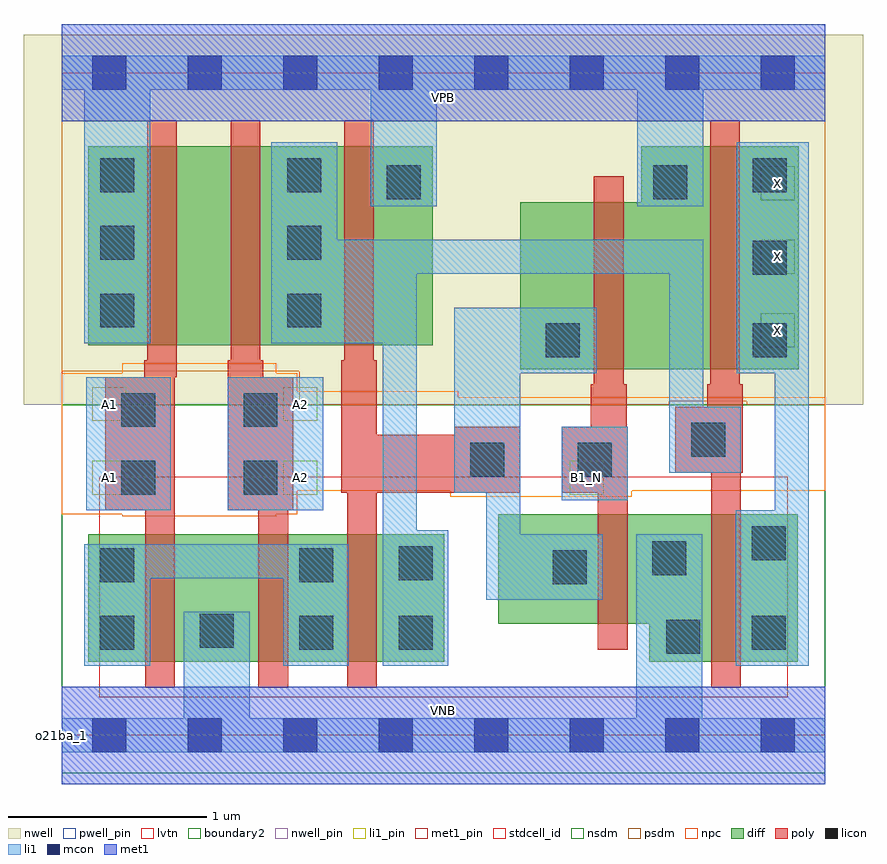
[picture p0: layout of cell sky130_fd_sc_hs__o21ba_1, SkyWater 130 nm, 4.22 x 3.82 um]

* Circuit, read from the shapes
.subckt sky130_fd_sc_hs__o21ba_1 A1 A2 B1_N VGND VNB VPB VPWR X
XM1 VGND A1 n1 VNB sky130_fd_pr__nfet_01v8_lvt w=0.64 l=0.15
XM2 n1 A2 VGND VNB sky130_fd_pr__nfet_01v8_lvt w=0.64 l=0.15
XM3 n2 n3 n1 VNB sky130_fd_pr__nfet_01v8_lvt w=0.64 l=0.15
XM4 VGND B1_N n3 VNB sky130_fd_pr__nfet_01v8_lvt w=0.55 l=0.15
XM5 X n2 VGND VNB sky130_fd_pr__nfet_01v8_lvt w=0.74 l=0.15
XM6 n4 A1 VPWR VPB sky130_fd_pr__pfet_01v8 w=1 l=0.15
XM7 n2 A2 n4 VPB sky130_fd_pr__pfet_01v8 w=1 l=0.15
XM8 VPWR n3 n2 VPB sky130_fd_pr__pfet_01v8 w=1 l=0.15
XM9 VPWR B1_N n3 VPB sky130_fd_pr__pfet_01v8 w=0.84 l=0.15
XM10 X n2 VPWR VPB sky130_fd_pr__pfet_01v8 w=1.12 l=0.15
.ends

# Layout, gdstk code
import gdstk
lib = gdstk.Library(unit=1e-6, precision=1e-09)
def R(c, l, rs):  # rectangles x0, y0, x1, y1
    for r in rs: c.add(gdstk.rectangle(r[:2], r[2:], *l))
def A(c, l, x, y, w, h, nx, ny, dx, dy):  # array of equal rectangles
    R(c, l, [(x+i*dx, y+j*dy, x+i*dx+w, y+j*dy+h) for i in range(nx) for j in range(ny)])
def P(c, l, *ps):  # polygons
    for p in ps: c.add(gdstk.Polygon(p, *l))
nwell_pin = (64, 16)
nwell = (64, 20)
diff = (65, 20)
poly = (66, 20)
licon = (66, 44)
li1_pin = (67, 16)
li1 = (67, 20)
mcon = (67, 44)
met1_pin = (68, 16)
met1 = (68, 20)
stdcell_id = (81, 4)
nsdm = (93, 44)
psdm = (94, 20)
npc = (95, 20)
pwell_pin = (122, 16)
lvtn = (125, 44)
boundary2 = (236, 0)

sky130_fd_sc_hs__o21ba_1 = lib.new_cell('sky130_fd_sc_hs__o21ba_1')
R(sky130_fd_sc_hs__o21ba_1, nwell_pin, [(0,3.085,3.84,3.33)])
R(sky130_fd_sc_hs__o21ba_1, nwell, [(-0.19,1.66,4.03,3.52)])
R(sky130_fd_sc_hs__o21ba_1, diff, [(0.135,0.37,1.925,1.01), (0.135,1.96,1.865,2.96)])
P(sky130_fd_sc_hs__o21ba_1, diff, [(3.7,1.11),(2.195,1.11),(2.195,0.56),(2.955,0.56),(2.955,0.37),(3.7,0.37)],
  [(3.705,2.96),(2.915,2.96),(2.915,2.68),(2.305,2.68),(2.305,1.84),(3.705,1.84)])
P(sky130_fd_sc_hs__o21ba_1, poly, [(0.58,3.09),(0.43,3.09),(0.43,1.885),(0.415,1.885),(0.415,1.8),(0.22,1.8),(0.22,1.13),(0.42,1.13),(0.42,0.24),(0.57,0.24),(0.57,1.8),(0.58,1.8)],
  [(1.165,1.8),(1.015,1.8),(1.015,1.885),(1,1.885),(1,3.09),(0.85,3.09),(0.85,1.885),(0.835,1.885),(0.835,1.13),(0.99,1.13),(0.99,0.24),(1.14,0.24),(1.14,1.13),(1.165,1.13)],
  [(2.305,1.55),(1.975,1.55),(1.975,1.51),(1.585,1.51),(1.585,1.885),(1.57,1.885),(1.57,3.09),(1.42,3.09),(1.42,1.885),(1.405,1.885),(1.405,1.22),(1.435,1.22),(1.435,0.24),(1.585,0.24),(1.585,1.22),(2.305,1.22)],
  [(2.845,1.55),(2.84,1.55),(2.84,1.765),(2.825,1.765),(2.825,2.81),(2.675,2.81),(2.675,1.765),(2.66,1.765),(2.66,1.55),(2.515,1.55),(2.515,1.22),(2.695,1.22),(2.695,0.43),(2.845,0.43)],
  [(3.425,1.765),(3.41,1.765),(3.41,3.09),(3.26,3.09),(3.26,1.765),(3.245,1.765),(3.245,1.65),(3.085,1.65),(3.085,1.32),(3.265,1.32),(3.265,0.24),(3.415,0.24),(3.415,1.32),(3.425,1.32)])
A(sky130_fd_sc_hs__o21ba_1, licon, 3.475, 1.9, 0.17, 0.17, 1, 3, 0, 0.415)
A(sky130_fd_sc_hs__o21ba_1, licon, 0.195, 2.05, 0.17, 0.17, 1, 3, 0, 0.34)
A(sky130_fd_sc_hs__o21ba_1, licon, 1.135, 2.05, 0.17, 0.17, 1, 3, 0, 0.34)
R(sky130_fd_sc_hs__o21ba_1, licon, [(3.04,0.41,3.21,0.58), (0.195,0.43,0.365,0.6), (1.195,0.43,1.365,0.6), (1.695,0.43,1.865,0.6), (3.47,0.43,3.64,0.6), (0.695,0.44,0.865,0.61), (2.47,0.76,2.64,0.93), (0.195,0.77,0.365,0.94), (1.195,0.77,1.365,0.94), (1.695,0.78,1.865,0.95), (2.97,0.805,3.14,0.975), (3.47,0.88,3.64,1.05), (0.3,1.21,0.47,1.38), (0.915,1.21,1.085,1.38), (2.055,1.3,2.225,1.47), (2.595,1.3,2.765,1.47), (3.165,1.4,3.335,1.57), (0.3,1.55,0.47,1.72), (0.915,1.55,1.085,1.72), (2.435,1.9,2.605,2.07), (1.635,2.695,1.805,2.865), (2.975,2.695,3.145,2.865)])
A(sky130_fd_sc_hs__o21ba_1, li1_pin, 3.515, 1.95, 0.17, 0.17, 1, 3, 0, 0.37)
R(sky130_fd_sc_hs__o21ba_1, li1_pin, [(0.155,1.21,0.325,1.38), (1.115,1.21,1.285,1.38), (2.555,1.21,2.725,1.38), (0.155,1.58,0.325,1.75), (1.115,1.58,1.285,1.75)])
R(sky130_fd_sc_hs__o21ba_1, li1, [(0.125,1.13,0.55,1.8), (0.835,1.13,1.315,1.8), (2.515,1.18,2.845,1.55)])
P(sky130_fd_sc_hs__o21ba_1, li1, [(2.895,2.66),(2.895,3.245),(1.885,3.245),(1.885,2.66),(1.555,2.66),(1.555,3.245),(0.445,3.245),(0.445,1.97),(0.115,1.97),(0.115,3.245),(0,3.245),(0,3.415),(3.84,3.415),(3.84,3.245),(3.225,3.245),(3.225,2.66)],
  [(0.615,0.085),(0.615,0.62),(0.945,0.62),(0.945,0.085),(2.89,0.085),(2.89,1.01),(3.22,1.01),(3.22,0.085),(3.84,0.085),(3.84,-0.085),(0,-0.085),(0,0.085)],
  [(3.225,2.49),(3.225,1.65),(3.415,1.65),(3.415,1.32),(3.055,1.32),(3.055,2.32),(1.785,2.32),(1.785,1.03),(1.945,1.03),(1.945,0.35),(1.615,0.35),(1.615,1.97),(1.055,1.97),(1.055,2.98),(1.385,2.98),(1.385,2.49)],
  [(2.135,0.68),(2.135,1.22),(1.975,1.22),(1.975,2.15),(2.69,2.15),(2.69,1.82),(2.305,1.82),(2.305,1.01),(2.72,1.01),(2.72,0.68)],
  [(0.115,0.35),(0.115,0.96),(1.445,0.96),(1.445,0.35),(1.115,0.35),(1.115,0.79),(0.445,0.79),(0.445,0.35)],
  [(3.585,1.13),(3.585,1.82),(3.395,1.82),(3.395,2.98),(3.755,2.98),(3.755,0.35),(3.39,0.35),(3.39,1.13)])
A(sky130_fd_sc_hs__o21ba_1, mcon, 0.155, -0.085, 0.17, 0.17, 8, 2, 0.48, 3.33)
R(sky130_fd_sc_hs__o21ba_1, met1_pin, [(0,0,3.84,0.245), (0,3.085,3.84,3.33)])
R(sky130_fd_sc_hs__o21ba_1, met1, [(0,-0.245,3.84,0.245), (0,3.085,3.84,3.575)])
R(sky130_fd_sc_hs__o21ba_1, stdcell_id, [(0,0,3.84,3.33)])
R(sky130_fd_sc_hs__o21ba_1, nsdm, [(0,-0.19,3.84,1.66)])
P(sky130_fd_sc_hs__o21ba_1, psdm, [(3.84,3.52),(0,3.52),(0,1.83),(1.195,1.83),(1.195,1.66),(3.055,1.66),(3.055,1.68),(3.445,1.68),(3.445,1.66),(3.84,1.66)])
P(sky130_fd_sc_hs__o21ba_1, npc, [(3.84,1.7),(1.995,1.7),(1.995,1.73),(1.185,1.73),(1.185,1.82),(1.08,1.82),(1.08,1.87),(0.305,1.87),(0.305,1.82),(0,1.82),(0,1.11),(0.305,1.11),(0.305,1.1),(1.08,1.1),(1.08,1.11),(1.185,1.11),(1.185,1.23),(1.955,1.23),(1.955,1.2),(2.865,1.2),(2.865,1.23),(3.84,1.23)])
R(sky130_fd_sc_hs__o21ba_1, pwell_pin, [(0,0,3.84,0.245)])
R(sky130_fd_sc_hs__o21ba_1, lvtn, [(0.19,0.19,3.65,1.3)])
R(sky130_fd_sc_hs__o21ba_1, boundary2, [(0,0,3.84,3.33)])
sky130_fd_sc_hs__o21ba_1.add(gdstk.Label('o21ba_1', (0,0), layer=83, texttype=44))
sky130_fd_sc_hs__o21ba_1.add(gdstk.Label('VNB', (1.92,0.123), layer=64, texttype=59))
sky130_fd_sc_hs__o21ba_1.add(gdstk.Label('VPB', (1.92,3.208), layer=64, texttype=5))
sky130_fd_sc_hs__o21ba_1.add(gdstk.Label('VPWR', (1.92,3.208), layer=68, texttype=5))
sky130_fd_sc_hs__o21ba_1.add(gdstk.Label('VGND', (1.92,0.123), layer=68, texttype=5))
sky130_fd_sc_hs__o21ba_1.add(gdstk.Label('B1_N', (2.64,1.295), layer=67, texttype=5))
sky130_fd_sc_hs__o21ba_1.add(gdstk.Label('A2', (1.2,1.295), layer=67, texttype=5))
sky130_fd_sc_hs__o21ba_1.add(gdstk.Label('A2', (1.2,1.665), layer=67, texttype=5))
sky130_fd_sc_hs__o21ba_1.add(gdstk.Label('A1', (0.24,1.295), layer=67, texttype=5))
sky130_fd_sc_hs__o21ba_1.add(gdstk.Label('A1', (0.24,1.665), layer=67, texttype=5))
sky130_fd_sc_hs__o21ba_1.add(gdstk.Label('X', (3.6,2.035), layer=67, texttype=5))
sky130_fd_sc_hs__o21ba_1.add(gdstk.Label('X', (3.6,2.405), layer=67, texttype=5))
sky130_fd_sc_hs__o21ba_1.add(gdstk.Label('X', (3.6,2.775), layer=67, texttype=5))

lib.write_gds('sky130_fd_sc_hs__o21ba_1.gds')
